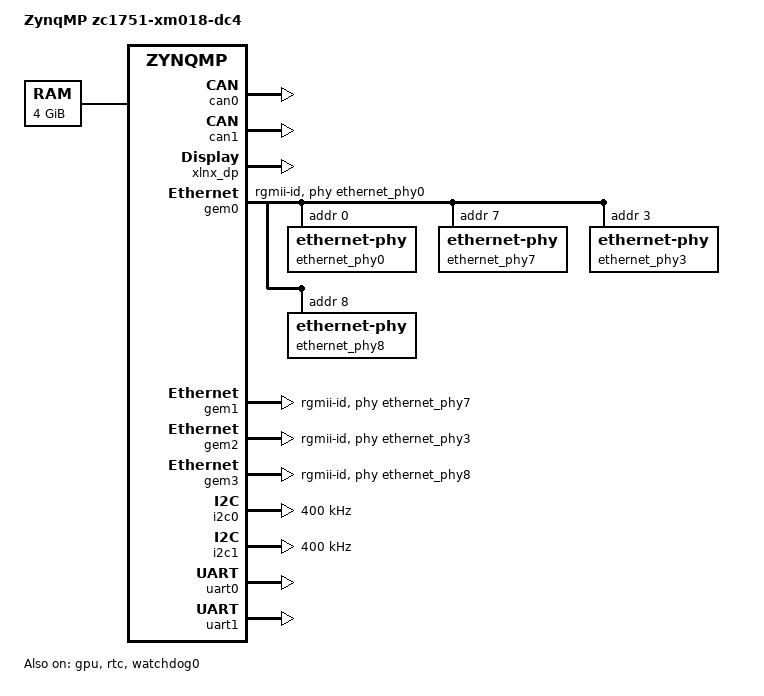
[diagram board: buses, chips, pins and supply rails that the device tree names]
/*
 * dts file for Xilinx ZynqMP zc1751-xm018-dc4
 *
 * (C) Copyright 2015 - 2016, Xilinx, Inc.
 *
 * Michal Simek <michal.simek@xilinx.com>
 *
 * This program is free software; you can redistribute it and/or
 * modify it under the terms of the GNU General Public License as
 * published by the Free Software Foundation; either version 2 of
 * the License, or (at your option) any later version.
 */

/dts-v1/;

#include "zynqmp.dtsi"
#include "zynqmp-clk.dtsi"

/ {
	model = "ZynqMP zc1751-xm018-dc4";
	compatible = "xlnx,zynqmp-zc1751", "xlnx,zynqmp";

	aliases {
		can0 = &can0;
		can1 = &can1;
		ethernet0 = &gem0;
		ethernet1 = &gem1;
		ethernet2 = &gem2;
		ethernet3 = &gem3;
		gpio0 = &gpio;
		i2c0 = &i2c0;
		i2c1 = &i2c1;
		rtc0 = &rtc;
		serial0 = &uart0;
		serial1 = &uart1;
		spi0 = &qspi;
	};

	chosen {
		bootargs = "earlycon";
		stdout-path = "serial0:115200n8";
	};

	memory {
		device_type = "memory";
		reg = <0x0 0x0 0x0 0x80000000>, <0x8 0x00000000 0x0 0x80000000>;
	};
};

&can0 {
	status = "okay";
};

&can1 {
	status = "okay";
};

/* fpd_dma clk 667MHz, lpd_dma 500MHz */
&fpd_dma_chan1 {
	status = "okay";
	xlnx,include-sg; /* for testing purpose */
	xlnx,overfetch; /* for testing purpose */
	xlnx,ratectrl = <0>; /* for testing purpose */
	xlnx,src-issue = <31>;
};

&fpd_dma_chan2 {
	status = "okay";
	xlnx,ratectrl = <100>; /* for testing purpose */
	xlnx,src-issue = <4>; /* for testing purpose */
};

&fpd_dma_chan3 {
	status = "okay";
};

&fpd_dma_chan4 {
	status = "okay";
	xlnx,include-sg; /* for testing purpose */
};

&fpd_dma_chan5 {
	status = "okay";
};

&fpd_dma_chan6 {
	status = "okay";
	xlnx,include-sg; /* for testing purpose */
};

&fpd_dma_chan7 {
	status = "okay";
};

&fpd_dma_chan8 {
	status = "okay";
	xlnx,include-sg; /* for testing purpose */
};

&lpd_dma_chan1 {
	status = "okay";
};

&lpd_dma_chan2 {
	status = "okay";
};

&lpd_dma_chan3 {
	status = "okay";
};

&lpd_dma_chan4 {
	status = "okay";
};

&lpd_dma_chan5 {
	status = "okay";
};

&lpd_dma_chan6 {
	status = "okay";
};

&lpd_dma_chan7 {
	status = "okay";
};

&lpd_dma_chan8 {
	status = "okay";
};

&xlnx_dp {
	status = "okay";
};

&xlnx_dpdma {
	status = "okay";
};

&gem0 {
	status = "okay";
	local-mac-address = [00 0a 35 00 02 90];
	phy-mode = "rgmii-id";
	phy-handle = <&ethernet_phy0>;
	ethernet_phy0: ethernet-phy@0 { /* Marvell 88e1512 */
		reg = <0>;
	};
	ethernet_phy7: ethernet-phy@7 { /* Vitesse VSC8211 */
		reg = <7>;
	};
	ethernet_phy3: ethernet-phy@3 { /* Realtek RTL8211DN */
		reg = <3>;
	};
	ethernet_phy8: ethernet-phy@8 { /* Vitesse VSC8211 */
		reg = <8>;
	};
};

&gem1 {
	status = "okay";
	local-mac-address = [00 0a 35 00 02 91];
	phy-mode = "rgmii-id";
	phy-handle = <&ethernet_phy7>;
};

&gem2 {
	status = "okay";
	local-mac-address = [00 0a 35 00 02 92];
	phy-mode = "rgmii-id";
	phy-handle = <&ethernet_phy3>;
};

&gem3 {
	status = "okay";
	local-mac-address = [00 0a 35 00 02 93];
	phy-mode = "rgmii-id";
	phy-handle = <&ethernet_phy8>;
};

&gpio {
	status = "okay";
};

&gpu {
	status = "okay";
};

&i2c0 {
	clock-frequency = <400000>;
	status = "okay";
};

&i2c1 {
	clock-frequency = <400000>;
	status = "okay";
};

&rtc {
	status = "okay";
};

&uart0 {
	status = "okay";
};

&uart1 {
	status = "okay";
};

&watchdog0 {
	status = "okay";
};
